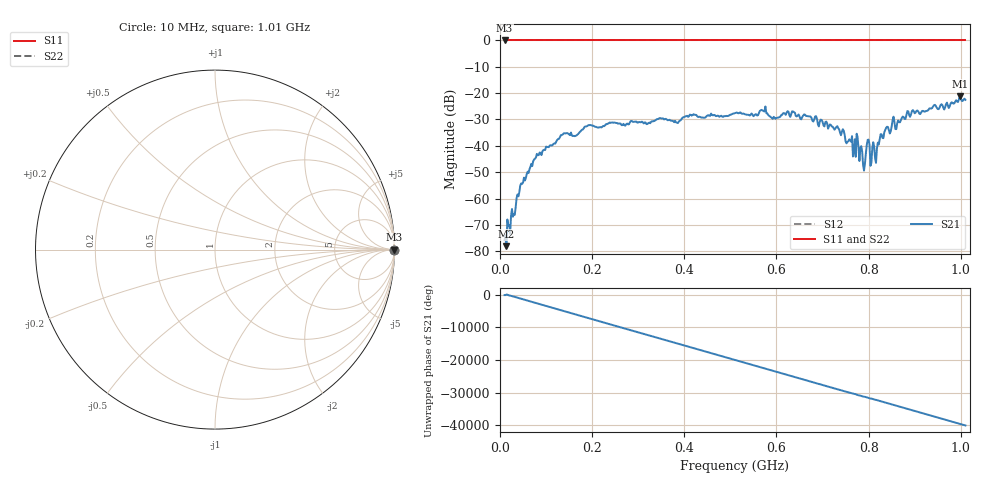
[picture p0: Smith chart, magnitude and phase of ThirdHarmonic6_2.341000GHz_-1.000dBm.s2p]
! 8/17/2025 3:27:43 AM
! C:\ANRITSUVNA\TEMP\TEMP.S2P
! CHANNEL.1
! TR.MEASUREMENT
! RAW.DATA
! RF.CORRECTION.OFF
! AVERAGING.OFF
! IF.BANDWIDTH: 5KHZ
! SWEEPTYPE:  FREQ.SWEEP(Linear)
! Reference Plane Port Info
! PORT:  PORT1  PORT2
! DISTANCE:  0  m  0  m
! TIME:  0  s  0  s
! PHASE.OFFSET:  0  deg.  0  deg.
! LOSS:  0  dB  0  dB
! REF.LOSS:  0  dB  0  dB
! REF.FREQ:  0  Hz  0  Hz
! Power Info
! POWER:  -20  dBm  -20  dBm
! EFF.POWER:  -20  dBm  -20  dBm
! SOURCE.ATTEN:  0  dB  0  dB
! TEST.ATTEN:  0  dB  0  dB
# GHZ S RI R 50.0
! FREQ.GHZ  S11RE  S11IM  S21RE  S21IM  S12RE  S12IM  S22RE  S22IM
!; PortSelection: Port_12
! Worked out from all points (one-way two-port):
!   501 points, 10 MHz to 1.01 GHz, reference 50 ohm
!   highest |S21| = -21.18 dB at 998 MHz (marker M1); lowest = -78.1 dB at 14 MHz (marker M2)
!   lowest |S11| = 0.0 dB at 10 MHz (marker M3)
!   |S11| at or under -10 dB: nowhere
!   |S22| runs from 0.0 to 0.0 dB; largest |S21 - S12| = 1.1
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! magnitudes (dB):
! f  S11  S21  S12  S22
! 10 MHz  0.0  -75.8  0.0  0.0
! 14 MHz  0.0  -78.1  0.0  0.0
! 48 MHz  0.0  -54.4  0.0  0.0
! 76 MHz  0.0  -44.9  0.0  0.0
! 136 MHz  0.0  -35.7  0.0  0.0
! 178 MHz  0.0  -33.9  0.0  0.0
! 344 MHz  0.0  -29.8  0.0  0.0
! 510 MHz  0.0  -27.6  0.0  0.0
! 572 MHz  0.0  -26.8  0.0  0.0
! 678 MHz  0.0  -30.4  0.0  0.0
! 732 MHz  0.0  -32.5  0.0  0.0
! 768 MHz  0.0  -41.9  0.0  0.0
! 774 MHz  0.0  -35.4  0.0  0.0
! 790 MHz  0.0  -49.4  0.0  0.0
! 798 MHz  0.0  -37.7  0.0  0.0
! 804 MHz  0.0  -47.6  0.0  0.0
! 818 MHz  0.0  -41.0  0.0  0.0
! 824 MHz  0.0  -37.5  0.0  0.0
! 844 MHz  0.0  -34.1  0.0  0.0
! 886 MHz  0.0  -26.9  0.0  0.0
! 998 MHz  0.0  -21.2  0.0  0.0
! 1.01 GHz  0.0  -22.5  0.0  0.0
